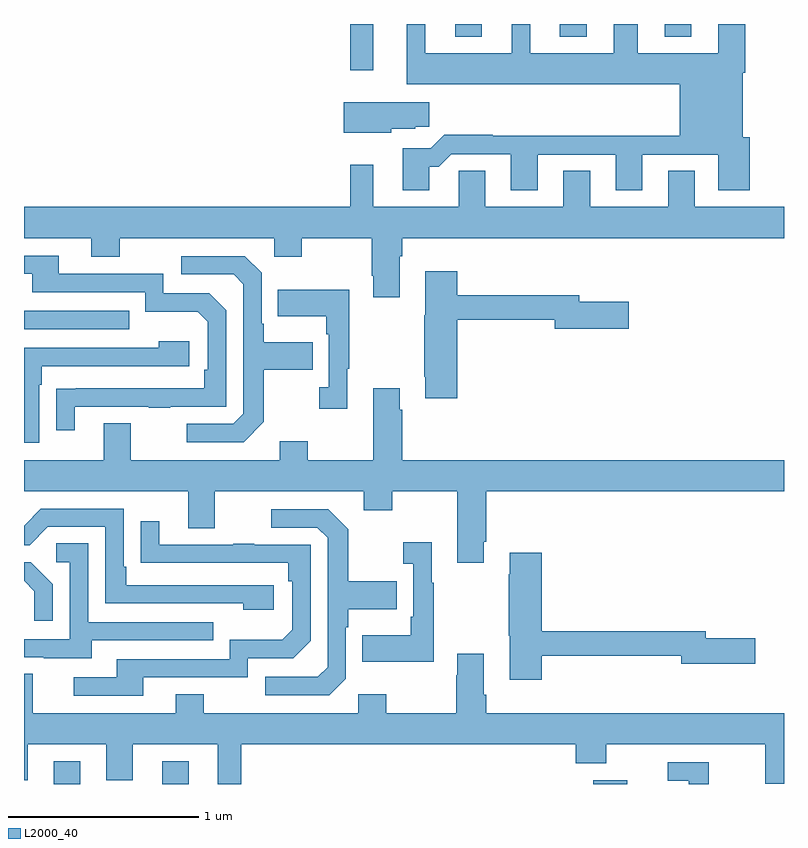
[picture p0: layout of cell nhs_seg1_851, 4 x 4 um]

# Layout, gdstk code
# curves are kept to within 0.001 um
import gdstk
lib = gdstk.Library(unit=1e-6, precision=1e-09)
def R(c, l, rs):  # rectangles x0, y0, x1, y1
    for r in rs: c.add(gdstk.rectangle(r[:2], r[2:], *l))
def A(c, l, x, y, w, h, nx, ny, dx, dy):  # array of equal rectangles
    R(c, l, [(x+i*dx, y+j*dy, x+i*dx+w, y+j*dy+h) for i in range(nx) for j in range(ny)])
def P(c, l, *ps):  # polygons
    for p in ps: c.add(gdstk.Polygon(p, *l))
L2000_40 = (2000, 40)

nhs_seg1_851 = lib.new_cell('nhs_seg1_851')
A(nhs_seg1_851, L2000_40, 159.269, 546.131, 0.14, 0.068, 3, 1, 0.552, 0)
R(nhs_seg1_851, L2000_40, [(157.157,542.199,157.297,542.32), (157.727,542.199,157.867,542.32), (159.995,542.199,160.174,542.218), (157,544.593,157.553,544.689), (158.718,545.955,158.839,546.199)])
P(nhs_seg1_851, L2000_40, [(159.133,545.447),(159.182,545.447),(159.249,545.514),(159.563,545.514),(159.563,545.325),(159.703,545.325),(159.703,545.511),(160.115,545.511),(160.115,545.325),(160.255,545.325),(160.255,545.511),(160.655,545.511),(160.655,545.325),(160.82,545.325),(160.82,545.604),(160.783,545.604),(160.783,545.942),(160.796,545.942),(160.796,546.199),(160.655,546.199),(160.655,546.046),(160.231,546.046),(160.231,546.199),(160.103,546.199),(160.103,546.046),(159.664,546.046),(159.664,546.199),(159.566,546.199),(159.566,546.046),(159.112,546.046),(159.112,546.199),(159.014,546.199),(159.014,545.882),(160.451,545.882),(160.451,545.612),(159.467,545.612),(159.467,545.615),(159.212,545.615),(159.141,545.544),(158.993,545.544),(158.993,545.325),(159.133,545.325)],
  [(158.934,545.648),(159.06,545.648),(159.06,545.659),(159.133,545.659),(159.133,545.788),(158.684,545.788),(158.684,545.627),(158.934,545.627)],
  [(158.977,544.976),(158.99,544.976),(158.99,545.072),(161,545.072),(161,545.236),(160.531,545.236),(160.531,545.426),(160.391,545.426),(160.391,545.236),(159.979,545.236),(159.979,545.426),(159.839,545.426),(159.839,545.236),(159.427,545.236),(159.427,545.426),(159.288,545.426),(159.288,545.236),(158.839,545.236),(158.839,545.458),(158.718,545.458),(158.718,545.236),(157,545.236),(157,545.072),(157.355,545.072),(157.355,544.973),(157.503,544.973),(157.503,545.072),(158.316,545.072),(158.316,544.973),(158.463,544.973),(158.463,545.072),(158.83,545.072),(158.83,544.873),(158.837,544.873),(158.837,544.761),(158.977,544.761)],
  [(157.267,544.185),(157.657,544.185),(157.657,544.18),(157.769,544.18),(157.769,544.185),(158.064,544.185),(158.064,544.692),(157.974,544.782),(157.734,544.782),(157.734,544.884),(157.183,544.884),(157.183,544.98),(157,544.98),(157,544.884),(157.043,544.884),(157.043,544.788),(157.638,544.788),(157.638,544.685),(157.915,544.685),(157.968,544.632),(157.968,544.378),(157.948,544.378),(157.948,544.281),(157.171,544.28),(157.171,544.062),(157.267,544.062)],
  [(158.263,544.105),(158.263,544.378),(158.519,544.378),(158.519,544.525),(158.263,544.525),(158.263,544.621),(158.25,544.621),(158.25,544.89),(158.163,544.977),(157.827,544.977),(157.827,544.881),(158.103,544.881),(158.154,544.83),(158.154,544.149),(158.1,544.095),(157.857,544.095),(157.857,543.999),(158.157,543.999)],
  [(159.281,544.642),(159.794,544.642),(159.794,544.595),(160.183,544.595),(160.183,544.737),(159.922,544.737),(159.922,544.771),(159.281,544.771),(159.281,544.897),(159.113,544.897),(159.113,544.665),(159.106,544.665),(159.106,544.342),(159.113,544.342),(159.113,544.23),(159.281,544.23)],
  [(158.701,544.385),(158.713,544.385),(158.713,544.801),(158.335,544.801),(158.335,544.661),(158.592,544.661),(158.592,544.565),(158.604,544.565),(158.604,544.286),(158.553,544.286),(158.553,544.173),(158.701,544.173)],
  [(157.08,544.301),(157.093,544.301),(157.093,544.398),(157.87,544.398),(157.87,544.528),(157.709,544.528),(157.709,544.494),(157,544.494),(157,543.996),(157.08,543.996)],
  [(159.421,543.475),(159.434,543.475),(159.434,543.74),(161,543.74),(161,543.904),(158.99,543.904),(158.99,544.169),(158.977,544.169),(158.977,544.282),(158.837,544.282),(158.837,543.904),(158.493,543.904),(158.493,544.003),(158.345,544.003),(158.345,543.904),(157.561,543.904),(157.561,544.099),(157.421,544.099),(157.421,543.904),(157,543.904),(157,543.74),(157.865,543.74),(157.865,543.546),(158.005,543.546),(158.005,543.74),(158.789,543.74),(158.789,543.641),(158.937,543.641),(158.937,543.74),(159.281,543.74),(159.281,543.363),(159.421,543.363)],
  [(158.314,543.246),(157.537,543.246),(157.537,543.343),(157.524,543.343),(157.524,543.648),(157.089,543.648),(157,543.559),(157,543.456),(157.029,543.456),(157.125,543.552),(157.428,543.552),(157.428,543.15),(158.153,543.15),(158.153,543.116),(158.314,543.116)],
  [(158.694,542.754),(158.694,543.023),(158.707,543.023),(158.707,543.119),(158.963,543.119),(158.963,543.267),(158.707,543.267),(158.707,543.539),(158.601,543.645),(158.301,543.645),(158.301,543.549),(158.544,543.549),(158.598,543.495),(158.598,542.814),(158.547,542.763),(158.271,542.763),(158.271,542.667),(158.607,542.667)],
  [(157.627,542.76),(158.178,542.76),(158.178,542.862),(158.418,542.862),(158.508,542.952),(158.508,543.459),(158.213,543.459),(158.213,543.464),(158.101,543.464),(158.101,543.459),(157.711,543.459),(157.711,543.583),(157.615,543.583),(157.615,543.364),(158.392,543.363),(158.392,543.266),(158.412,543.266),(158.412,543.012),(158.359,542.959),(158.082,542.959),(158.082,542.856),(157.487,542.856),(157.487,542.76),(157.263,542.76),(157.263,542.664),(157.627,542.664)],
  [(159.157,543.259),(159.145,543.259),(159.145,543.472),(158.997,543.472),(158.997,543.359),(159.048,543.359),(159.048,543.079),(159.036,543.079),(159.036,542.983),(158.779,542.983),(158.779,542.843),(159.157,542.843)],
  [(157.357,542.955),(157.997,542.955),(157.997,543.051),(157.338,543.051),(157.338,543.467),(157.17,543.467),(157.17,543.366),(157.242,543.366),(157.242,542.961),(157,542.961),(157,542.865),(157.103,542.865),(157.103,542.861),(157.357,542.861)],
  [(159.725,542.874),(160.46,542.874),(160.46,542.831),(160.849,542.831),(160.849,542.966),(160.588,542.966),(160.588,543.002),(159.725,543.002),(159.725,543.415),(159.557,543.415),(159.557,543.302),(159.55,543.302),(159.55,542.979),(159.557,542.979),(159.557,542.748),(159.725,542.748)],
  [(157.152,543.25),(157.036,543.366),(157,543.366),(157,543.268),(157.055,543.213),(157.055,543.057),(157.152,543.057)],
  [(158.143,542.408),(159.905,542.408),(159.905,542.309),(160.065,542.309),(160.065,542.408),(160.901,542.408),(160.901,542.2),(161,542.2),(161,542.572),(159.434,542.572),(159.434,542.668),(159.421,542.668),(159.421,542.884),(159.281,542.884),(159.281,542.771),(159.274,542.771),(159.274,542.572),(158.907,542.572),(158.907,542.671),(158.76,542.671),(158.76,542.572),(157.947,542.572),(157.947,542.671),(157.799,542.671),(157.799,542.572),(157.045,542.572),(157.045,542.78),(157,542.78),(157,542.218),(157.021,542.218),(157.021,542.408),(157.433,542.408),(157.433,542.218),(157.572,542.218),(157.572,542.408),(158.021,542.408),(158.021,542.199),(158.143,542.199)],
  [(160.603,542.313),(160.389,542.313),(160.389,542.217),(160.499,542.217),(160.499,542.199),(160.603,542.199)])

lib.write_gds('nhs_seg1_851.gds')
